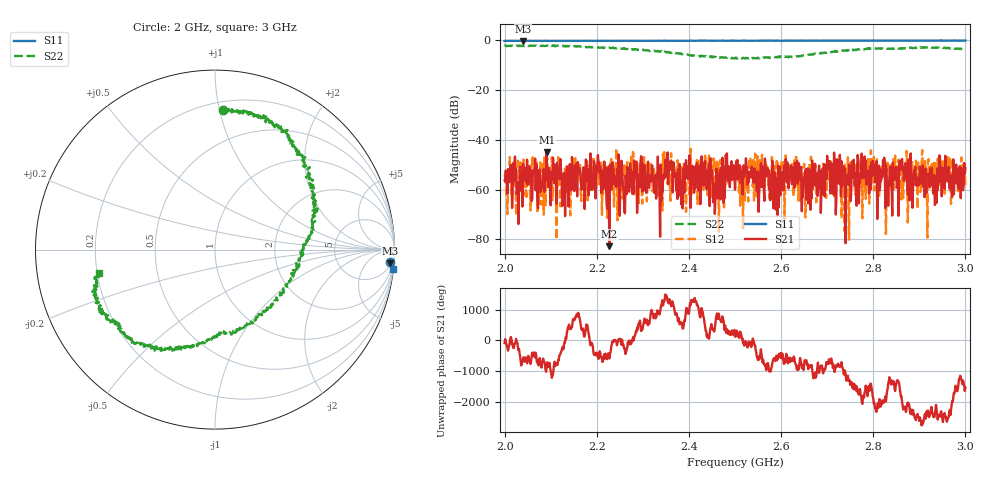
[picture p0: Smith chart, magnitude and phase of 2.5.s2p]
!Agilent Technologies,E8364A,US41440144,A.06.04.32
!Agilent E8364A: A.06.04.32
!Date: Wednesday, January 31, 2018 11:51:26
!Correction: S11(Full 2 Port(1,2)) S21(Full 2 Port(1,2)) S12(Full 2 Port(1,2)) S22(Full 2 Port(1,2))
!S2P File: Measurements: S11, S21, S12, S22:
# Hz S  dB  R 50
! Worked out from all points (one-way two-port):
!   801 points, 2 GHz to 3 GHz, reference 50 ohm
!   highest |S21| = -45.01 dB at 2.091 GHz (marker M1); lowest = -82.8 dB at 2.228 GHz (marker M2)
!   lowest |S11| = -0.2 dB at 2.04 GHz (marker M3), VSWR 89.88, Z = 341 - j1.19e+03 ohm
!   |S11| at or under -10 dB: nowhere
!   |S22| runs from -7.3 to -2.0 dB; largest |S21 - S12| = 0.0087
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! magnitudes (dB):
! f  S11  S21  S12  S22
! 2 GHz  -0.2  -56.3  -54.0  -2.2
! 2.04 GHz  -0.2  -49.7  -53.0  -2.1
! 2.091 GHz  -0.1  -45.0  -49.2  -2.1
! 2.167 GHz  -0.1  -60.0  -53.0  -2.4
! 2.204 GHz  -0.2  -49.9  -52.5  -2.8
! 2.228 GHz  -0.1  -82.8  -64.9  -3.0
! 2.234 GHz  -0.1  -49.1  -54.2  -3.0
! 2.334 GHz  -0.1  -55.7  -57.1  -4.3
! 2.359 GHz  -0.1  -48.9  -58.1  -4.9
! 2.382 GHz  -0.2  -60.5  -55.3  -5.2
! 2.396 GHz  -0.1  -50.6  -51.9  -5.7
! 2.409 GHz  -0.1  -57.4  -62.1  -6.0
! 2.431 GHz  -0.1  -58.3  -59.9  -6.3
! 2.458 GHz  -0.1  -63.4  -63.6  -6.6
! 2.5 GHz  -0.1  -60.0  -58.2  -7.1
! 2.522 GHz  -0.1  -52.9  -52.3  -7.1
! 2.535 GHz  -0.1  -52.6  -49.4  -7.0
! 2.667 GHz  -0.1  -48.3  -58.2  -5.7
! 2.701 GHz  -0.1  -52.1  -50.1  -4.8
! 2.834 GHz  -0.1  -57.1  -57.6  -3.2
! 2.861 GHz  0.0  -48.7  -64.0  -3.4
! 3 GHz  0.0  -51.4  -58.7  -3.6
